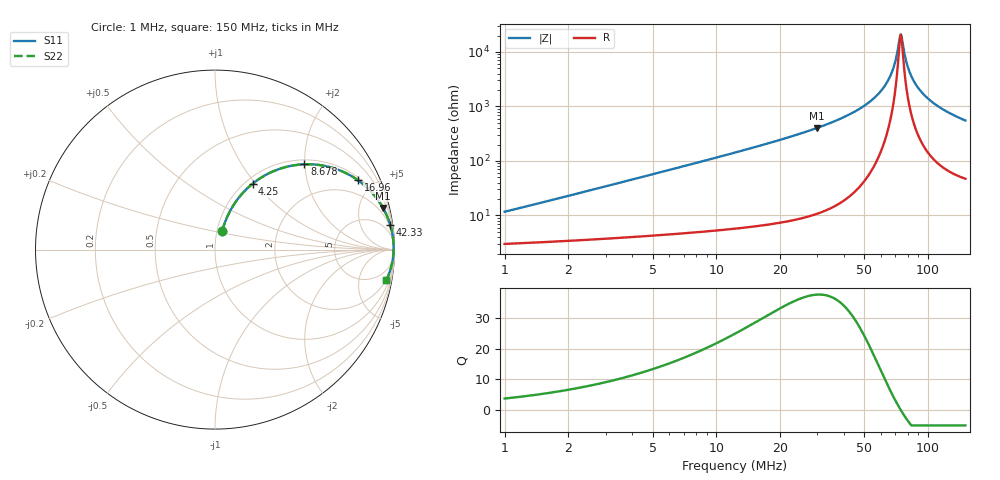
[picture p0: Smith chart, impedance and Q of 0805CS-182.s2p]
# MHz S MA R 50
!Freq  MagS11  AngS11  MagS21  AngS21  MagS12  AngS12  MagS22  AngS22
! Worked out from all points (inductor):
!   801 points, 1 MHz to 150 MHz, reference 50 ohm
!   read as one part in series: L = 1.8 uH near 1.025 MHz
!   highest Q = 37.6 at 29.81 MHz (marker M1), where L = 2.14 uH
!   self-resonance near 73.91 MHz
!   S11 on the Smith chart (normalised r, x): 1 MHz: 1.06, +0.23; 4.25 MHz: 1.08, +0.96; 8.678 MHz: 1.10, +1.99; 16.96 MHz: 1.13, +4.05; 42.33 MHz: 1, +14; 150 MHz: 2, -11
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1  0.1129 68.9  0.9651 -6.3  0.9651 -6.3  0.1129 68.9
2.285889  0.2447 68.2  0.9372 -14.0  0.9372 -14.0  0.2447 68.2
4.249583  0.4219 60.3  0.8718 -24.9  0.8718 -24.9  0.4219 60.3
8.678394  0.6886 43.7  0.6912 -43.5  0.6912 -43.5  0.6886 43.7
12.47975  0.809 33.8  0.5566 -53.9  0.5566 -53.9  0.809 33.8
16.96257  0.8851 25.9  0.4371 -62.2  0.4371 -62.2  0.8851 25.9
25.96924  0.9511 16.5  0.2842 -71.9  0.2842 -71.9  0.9511 16.5
29.80587  0.9644 13.9  0.24 -74.6  0.24 -74.6  0.9644 13.9
42.32805  0.986 8.0  0.1391 -80.2  0.1391 -80.2  0.986 8.0
50.75882  0.9918 5.3  0.09218 -82.3  0.09218 -82.3  0.9918 5.3
58.25779  0.9943 3.3  0.05826 -82.8  0.05826 -82.8  0.9943 3.3
63.99643  0.9952 2.0  0.03574 -81.3  0.03574 -81.3  0.9952 2.0
68.99174  0.9954 1.0  0.01815 -75.0  0.01815 -75.0  0.9954 1.0
73.45109  0.9953 0.2  0.005437 -30.5  0.005437 -30.5  0.9953 0.2
74.37697  0.9953 -0.0  0.004747 2.3  0.004747 2.3  0.9953 -0.0
75.78772  0.9951 -0.3  0.006706 43.5  0.006706 43.5  0.9951 -0.3
79.68191  0.9947 -0.9  0.01728 71.7  0.01728 71.7  0.9947 -0.9
84.30256  0.994 -1.7  0.03037 77.8  0.03037 77.8  0.994 -1.7
90.88289  0.9927 -2.7  0.04817 79.9  0.04817 79.9  0.9927 -2.7
100.4625  0.9901 -4.1  0.07233 80.1  0.07233 80.1  0.9901 -4.1
125.8717  0.9809 -7.4  0.1288 77.8  0.1288 77.8  0.9809 -7.4
150  0.9696 -10.1  0.1756 75.0  0.1756 75.0  0.9696 -10.1
